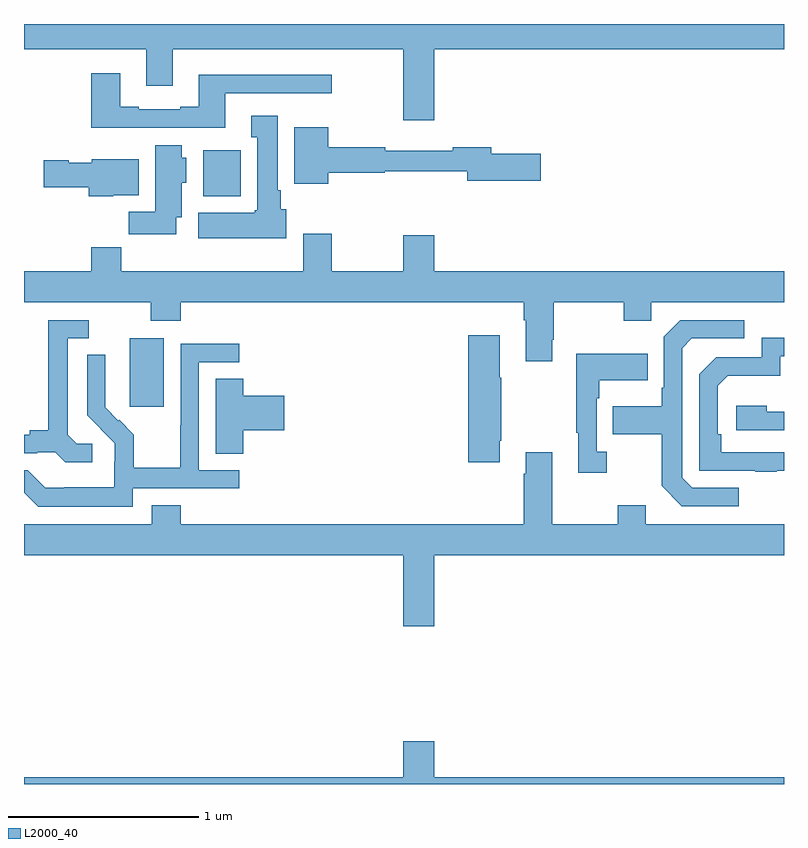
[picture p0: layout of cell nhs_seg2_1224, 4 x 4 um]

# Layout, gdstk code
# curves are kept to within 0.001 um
import gdstk
lib = gdstk.Library(unit=1e-6, precision=1e-09)
def R(c, l, rs):  # rectangles x0, y0, x1, y1
    for r in rs: c.add(gdstk.rectangle(r[:2], r[2:], *l))
def P(c, l, *ps):  # polygons
    for p in ps: c.add(gdstk.Polygon(p, *l))
L2000_40 = (2000, 40)

nhs_seg2_1224 = lib.new_cell('nhs_seg2_1224')
R(nhs_seg2_1224, L2000_40, [(175.556,613.785,175.735,614.146), (175.943,614.894,176.14,615.136)])
P(nhs_seg2_1224, L2000_40, [(177.16,615.668),(179,615.668),(179,615.8),(175,615.8),(175,615.668),(175.643,615.668),(175.643,615.474),(175.783,615.474),(175.783,615.668),(176.996,615.668),(176.996,615.294),(177.16,615.294)],
  [(175.599,615.255),(176.059,615.255),(176.059,615.435),(176.62,615.435),(176.62,615.532),(175.919,615.532),(175.919,615.364),(175.823,615.364),(175.823,615.351),(175.603,615.351),(175.603,615.364),(175.507,615.364),(175.507,615.541),(175.355,615.541),(175.355,615.254),(175.599,615.254)],
  [(176.38,614.826),(176.35,614.826),(176.35,614.926),(176.335,614.926),(176.335,615.316),(176.195,615.316),(176.195,615.203),(176.228,615.203),(176.228,614.82),(176.215,614.82),(176.215,614.806),(175.916,614.806),(175.916,614.672),(176.38,614.672)],
  [(176.602,615.016),(176.898,615.016),(176.898,615.024),(177.332,615.024),(177.332,614.974),(177.721,614.974),(177.721,615.116),(177.46,615.116),(177.46,615.152),(177.256,615.152),(177.256,615.133),(176.9,615.133),(176.9,615.152),(176.602,615.152),(176.602,615.256),(176.423,615.256),(176.423,614.96),(176.602,614.96)],
  [(175.801,614.783),(175.831,614.783),(175.831,614.964),(175.855,614.964),(175.855,615.096),(175.831,615.096),(175.831,615.163),(175.691,615.163),(175.691,614.812),(175.552,614.812),(175.552,614.694),(175.801,614.694)],
  [(175.47,614.9),(175.603,614.9),(175.603,615.088),(175.356,615.088),(175.356,615.07),(175.236,615.07),(175.236,615.083),(175.104,615.083),(175.104,614.941),(175.34,614.941),(175.34,614.894),(175.47,614.894)],
  [(177.781,614.137),(177.789,614.137),(177.789,614.336),(178.156,614.336),(178.156,614.237),(178.302,614.237),(178.302,614.336),(179,614.336),(179,614.5),(177.16,614.5),(177.16,614.689),(176.996,614.689),(176.996,614.5),(176.619,614.5),(176.619,614.695),(176.471,614.695),(176.471,614.5),(175.511,614.5),(175.511,614.624),(175.355,614.624),(175.355,614.5),(175,614.5),(175,614.336),(175.666,614.336),(175.666,614.237),(175.826,614.237),(175.826,614.336),(177.629,614.336),(177.629,614.24),(177.641,614.24),(177.641,614.025),(177.781,614.025)],
  [(178.762,613.359),(178.518,613.359),(178.464,613.413),(178.464,614.094),(178.515,614.145),(178.792,614.145),(178.792,614.241),(178.455,614.241),(178.368,614.154),(178.368,613.885),(178.356,613.885),(178.356,613.789),(178.099,613.789),(178.099,613.642),(178.356,613.642),(178.356,613.369),(178.461,613.263),(178.762,613.263)],
  [(175.36,613.59),(175.278,613.59),(175.231,613.637),(175.231,614.145),(175.342,614.145),(175.342,614.241),(175.127,614.241),(175.127,613.661),(175.031,613.661),(175.031,613.638),(175,613.638),(175,613.542),(175.07,613.542),(175.07,613.545),(175.164,613.545),(175.216,613.493),(175.36,613.493)],
  [(177.505,613.606),(177.513,613.606),(177.513,613.937),(177.505,613.937),(177.505,614.161),(177.338,614.161),(177.338,613.494),(177.505,613.494)],
  [(178.961,613.449),(179,613.449),(179,613.545),(178.67,613.545),(178.67,613.642),(178.65,613.642),(178.65,613.896),(178.703,613.949),(178.98,613.949),(178.98,614.052),(179,614.052),(179,614.148),(178.884,614.148),(178.884,614.046),(178.644,614.046),(178.554,613.956),(178.554,613.449),(178.849,613.449),(178.849,613.444),(178.961,613.444)],
  [(175.572,613.356),(176.134,613.356),(176.134,613.452),(175.92,613.452),(175.92,614.019),(176.134,614.019),(176.134,614.118),(175.824,614.118),(175.824,613.688),(175.822,613.688),(175.822,613.465),(175.577,613.465),(175.577,613.639),(175.5,613.716),(175.497,613.713),(175.427,613.784),(175.428,614.06),(175.332,614.06),(175.332,613.742),(175.478,613.594),(175.478,613.497),(175.476,613.497),(175.476,613.363),(175.213,613.363),(175.213,613.359),(175.113,613.359),(175.02,613.452),(175,613.452),(175,613.334),(175.075,613.259),(175.572,613.259)],
  [(178.066,613.55),(178.014,613.55),(178.014,613.829),(178.027,613.829),(178.027,613.925),(178.283,613.925),(178.283,614.065),(177.906,614.065),(177.906,613.649),(177.917,613.649),(177.917,613.437),(178.066,613.437)],
  [(176.153,613.661),(176.371,613.661),(176.371,613.844),(176.153,613.844),(176.153,613.934),(176.009,613.934),(176.009,613.537),(176.153,613.537)],
  [(179,613.758),(178.91,613.758),(178.91,613.792),(178.749,613.792),(178.749,613.662),(179,613.662)],
  [(177.16,613.004),(179,613.004),(179,613.168),(178.273,613.168),(178.273,613.267),(178.126,613.267),(178.126,613.168),(177.781,613.168),(177.781,613.546),(177.641,613.546),(177.641,613.433),(177.629,613.433),(177.629,613.168),(175.826,613.168),(175.826,613.267),(175.673,613.267),(175.673,613.168),(175,613.168),(175,613.004),(176.996,613.004),(176.996,612.63),(177.16,612.63)],
  [(179,611.836),(177.16,611.836),(177.16,612.025),(176.996,612.025),(176.996,611.836),(175,611.836),(175,611.8),(179,611.8)])

lib.write_gds('nhs_seg2_1224.gds')
